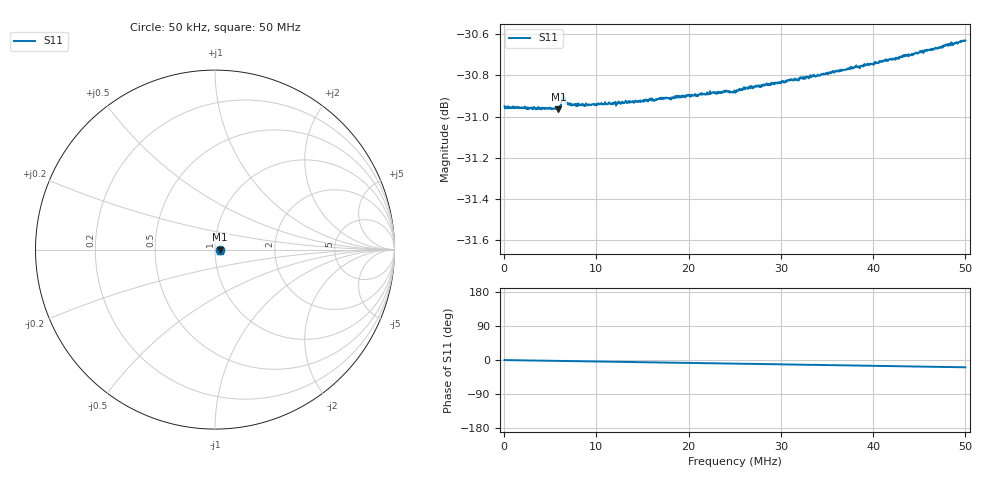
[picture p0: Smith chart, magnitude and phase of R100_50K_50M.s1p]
# HZ S RI R 50
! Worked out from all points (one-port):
!   1010 points, 50 kHz to 50 MHz, reference 50 ohm
!   lowest |S11| = -31.0 dB at 5.891 MHz (marker M1), VSWR 1.06, Z = 52.9 - j0.125 ohm
!   |S11| at or under -10 dB: start of sweep to end of sweep
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50000  0.0283 2.38e-05
2624208  0.0283 -0.0006
5297424  0.0283 -0.00107
5891472  0.0283 -0.00118
6039984  0.0283 -0.00117
6337008  0.0285 -0.00113
6535024  0.0285 -0.00127
6931056  0.0284 -0.00138
7624112  0.0283 -0.00152
1.202997e7  0.0283 -0.00235
1.257451e7  0.0283 -0.00242
1.49012e7  0.0283 -0.00286
1.594078e7  0.0283 -0.00305
1.633682e7  0.0283 -0.00313
1.73764e7  0.0283 -0.00334
1.816846e7  0.0283 -0.00349
1.881202e7  0.0283 -0.00359
2.391093e7  0.0282 -0.00456
2.504952e7  0.0282 -0.00475
2.613861e7  0.0282 -0.00497
2.97524e7  0.0282 -0.00566
3.128702e7  0.0281 -0.00597
3.34157e7  0.0281 -0.00637
3.396024e7  0.0281 -0.00647
3.752453e7  0.0281 -0.00718
4.252443e7  0.0279 -0.00817
4.376203e7  0.0279 -0.00843
4.999954e7  0.0278 -0.00971
